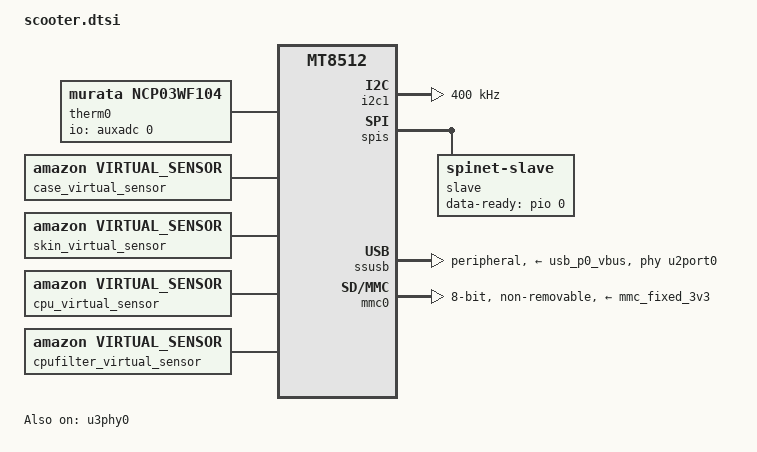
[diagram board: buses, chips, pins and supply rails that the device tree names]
/*
 * Copyright (c) 2019 MediaTek Inc.
 * Copyright (C) 2019 Amazon.com
 *
 * SPDX-License-Identifier: (GPL-2.0 OR MIT)
 */

#include "mt8512-amzn.dtsi"

&adsp {
	status = "disabled";
};

&adsp_pcm {
	status = "disabled";
};

&i2c0 {
	status = "disabled";
};

&i2c1 {
	status = "okay";
	clock-frequency = <400000>;
};

&i2c2 {
	status = "disabled";
};

&gpio_privacy {
	status = "disabled";
};

&spis {
	pinctrl-names = "default";
	pinctrl-0 = <&spis_pins>;
	slave-ready-gpio = <&pio 4 GPIO_ACTIVE_HIGH>;
	status = "okay";
	task-rt;

	slave: slave {
		compatible = "spinet-slave";
		data-ready-gpio = <&pio 0 GPIO_ACTIVE_HIGH>;
	};
};

&pio {
	pinctrl-names = "default";

	mmc0_pins_default: mmc0default {
		pins_clk {
			pinmux = <MT8512_PIN_82_MSDC0_CLK__FUNC_MSDC0_CLK>;
			bias-pull-down;
		};

		pins_cmd_dat {
			pinmux = <MT8512_PIN_86_MSDC0_DAT0__FUNC_MSDC0_DAT0>,
				 <MT8512_PIN_85_MSDC0_DAT1__FUNC_MSDC0_DAT1>,
				 <MT8512_PIN_84_MSDC0_DAT2__FUNC_MSDC0_DAT2>,
				 <MT8512_PIN_83_MSDC0_DAT3__FUNC_MSDC0_DAT3>,
				 <MT8512_PIN_79_MSDC0_DAT4__FUNC_MSDC0_DAT4>,
				 <MT8512_PIN_78_MSDC0_DAT5__FUNC_MSDC0_DAT5>,
				 <MT8512_PIN_77_MSDC0_DAT6__FUNC_MSDC0_DAT6>,
				 <MT8512_PIN_76_MSDC0_DAT7__FUNC_MSDC0_DAT7>,
				 <MT8512_PIN_81_MSDC0_CMD__FUNC_MSDC0_CMD>;
			input-enable;
			bias-pull-up;
		};

		pins_rst {
			pinmux = <MT8512_PIN_80_MSDC0_RSTB__FUNC_MSDC0_RSTB>;
			bias-pull-up;
		};
	};

	mmc0_pins_uhs: mmc0 {
		pins_clk {
			pinmux = <MT8512_PIN_82_MSDC0_CLK__FUNC_MSDC0_CLK>;
			drive-strength = <MTK_DRIVE_6mA>;
			bias-pull-down = <MTK_PUPD_SET_R1R0_01>;
		};

		pins_cmd_dat {
			pinmux = <MT8512_PIN_86_MSDC0_DAT0__FUNC_MSDC0_DAT0>,
				 <MT8512_PIN_85_MSDC0_DAT1__FUNC_MSDC0_DAT1>,
				 <MT8512_PIN_84_MSDC0_DAT2__FUNC_MSDC0_DAT2>,
				 <MT8512_PIN_83_MSDC0_DAT3__FUNC_MSDC0_DAT3>,
				 <MT8512_PIN_79_MSDC0_DAT4__FUNC_MSDC0_DAT4>,
				 <MT8512_PIN_78_MSDC0_DAT5__FUNC_MSDC0_DAT5>,
				 <MT8512_PIN_77_MSDC0_DAT6__FUNC_MSDC0_DAT6>,
				 <MT8512_PIN_76_MSDC0_DAT7__FUNC_MSDC0_DAT7>,
				 <MT8512_PIN_81_MSDC0_CMD__FUNC_MSDC0_CMD>;
			input-enable;
			drive-strength = <MTK_DRIVE_8mA>;
			bias-pull-up = <MTK_PUPD_SET_R1R0_01>;
		};

		pins_rst {
			pinmux = <MT8512_PIN_80_MSDC0_RSTB__FUNC_MSDC0_RSTB>;
			bias-pull-up;
		};
	};

	mmc0_pins_sleep: mmc0sleep {
		pins_clk {
			pinmux = <MT8512_PIN_82_MSDC0_CLK__FUNC_GPIO82>;
			bias-disable;
			input-disable;
		};

		pins_cmd_dat {
			pinmux = <MT8512_PIN_86_MSDC0_DAT0__FUNC_GPIO86>,
				 <MT8512_PIN_85_MSDC0_DAT1__FUNC_GPIO85>,
				 <MT8512_PIN_84_MSDC0_DAT2__FUNC_GPIO84>,
				 <MT8512_PIN_83_MSDC0_DAT3__FUNC_GPIO83>,
				 <MT8512_PIN_79_MSDC0_DAT4__FUNC_GPIO79>,
				 <MT8512_PIN_78_MSDC0_DAT5__FUNC_GPIO78>,
				 <MT8512_PIN_77_MSDC0_DAT6__FUNC_GPIO77>,
				 <MT8512_PIN_76_MSDC0_DAT7__FUNC_GPIO76>,
				 <MT8512_PIN_81_MSDC0_CMD__FUNC_GPIO81>;
			bias-disable;
			input-disable;
		};

		pins_rst {
			pinmux = <MT8512_PIN_80_MSDC0_RSTB__FUNC_GPIO80>;
			bias-disable;
			input-disable;
		};
	};

	mmc1_pins_default: mmc1default {
		pins_cmd_dat {
			pinmux = <MT8512_PIN_72_MSDC1_DAT0__FUNC_MSDC1_DAT0>,
			       <MT8512_PIN_73_MSDC1_DAT1__FUNC_MSDC1_DAT1>,
			       <MT8512_PIN_74_MSDC1_DAT2__FUNC_MSDC1_DAT2>,
			       <MT8512_PIN_75_MSDC1_DAT3__FUNC_MSDC1_DAT3>,
			       <MT8512_PIN_70_MSDC1_CMD__FUNC_MSDC1_CMD>;
			input-enable;
			drive-strength = <MTK_DRIVE_6mA>;
			bias-pull-up = <MTK_PUPD_SET_R1R0_01>;
		};

		pins_clk {
			pinmux = <MT8512_PIN_71_MSDC1_CLK__FUNC_MSDC1_CLK>;
			drive-strength = <MTK_DRIVE_6mA>;
			bias-pull-down = <MTK_PUPD_SET_R1R0_10>;
		};
	};

	mmc1_pins_uhs: mmc1@0 {
		pins_cmd_dat {
			pinmux = <MT8512_PIN_72_MSDC1_DAT0__FUNC_MSDC1_DAT0>,
			       <MT8512_PIN_73_MSDC1_DAT1__FUNC_MSDC1_DAT1>,
			       <MT8512_PIN_74_MSDC1_DAT2__FUNC_MSDC1_DAT2>,
			       <MT8512_PIN_75_MSDC1_DAT3__FUNC_MSDC1_DAT3>,
			       <MT8512_PIN_70_MSDC1_CMD__FUNC_MSDC1_CMD>;
			input-enable;
			drive-strength = <MTK_DRIVE_6mA>;
			bias-pull-up = <MTK_PUPD_SET_R1R0_01>;
		};

		pins_clk {
			pinmux = <MT8512_PIN_71_MSDC1_CLK__FUNC_MSDC1_CLK>;
			drive-strength = <MTK_DRIVE_6mA>;
			bias-pull-down = <MTK_PUPD_SET_R1R0_10>;
		};
	};

	mmc1_pins_dat1: mmc1_dat1 {
		pins_dat1 {
			pinmux = <MT8512_PIN_73_MSDC1_DAT1__FUNC_MSDC1_DAT1>;
			input-enable;
			drive-strength = <MTK_DRIVE_6mA>;
			bias-pull-up = <MTK_PUPD_SET_R1R0_10>;
		};
	};

	mmc1_dat1_eint: dat1_eint {
		pins_dat1_eint {
			pinmux = <MT8512_PIN_73_MSDC1_DAT1__FUNC_GPIO73>;
			input-enable;
			bias-pull-up = <MTK_PUPD_SET_R1R0_10>;
		};
	};

	uart1_pin: uart1default {
		pins_rx {
			pinmux = <MT8512_PIN_54_URXD1__FUNC_URXD1>;
			input-enable;
			bias-pull-up;
		};

		pins_tx {
			pinmux = <MT8512_PIN_55_UTXD1__FUNC_UTXD1>;
		};

		pins_rts {
			pinmux = <MT8512_PIN_56_URTS1__FUNC_DSP_URXD>;
			input-enable;
			bias-pull-up;
		};

		pins_cts {
			pinmux = <MT8512_PIN_57_UCTS1__FUNC_DSP_UTXD>;
		};
	};

	spis_pins: spis@0 {
		pins_spis {
		    pinmux = <MT8512_PIN_48_JTMS__FUNC_SPIS_CSB>,
		    	<MT8512_PIN_49_JTCK__FUNC_SPIS_CLK>,
		    	<MT8512_PIN_50_JTDI__FUNC_SPIS_SO>,
		    	<MT8512_PIN_51_JTDO__FUNC_SPIS_SI>;
		    drive-strength = <4>;
		    bias-disable;
		    input-enable;
		};
	};
};

&svs {
	vproc-supply = <&mt6395_vproc>;
};

&ssusb {
	vbus-supply = <&usb_p0_vbus>;
	extcon = <&extcon_usb>;
	dr_mode = "peripheral";
	pinctrl-names = "default", "id_float", "id_ground";
	pinctrl-0 = <&usb_id_pins_float>;
	pinctrl-1 = <&usb_id_pins_float>;
	pinctrl-2 = <&usb_id_pins_ground>;
	phys = <&u2port0 PHY_TYPE_USB2>;
	mediatek,force_vbus = "true";
	status="okay";
};

&u3phy0 {
	status = "okay";
};

&mmc0 {
	status = "okay";
	pinctrl-names = "default", "state_uhs", "sleep";
	pinctrl-0 = <&mmc0_pins_default>;
	pinctrl-1 = <&mmc0_pins_uhs>;
	pinctrl-2 = <&mmc0_pins_sleep>;
	bus-width = <8>;
	max-frequency = <200000000>;
	cap-mmc-highspeed;
	mmc-hs200-1_8v;
	cap-cqe;
	cap-cqe_dcmd;
	vmmc-supply = <&mmc_fixed_3v3>;
	vqmmc-supply = <&mmc_fixed_1v8_io>;
	assigned-clocks = <&topckgen CLK_TOP_MSDC50_0_SEL>;
	assigned-clock-parents = <&topckgen CLK_TOP_MSDCPLL_D2>;
	non-removable;
	no-sd;
	no-sdio;
};

&acenna_reserved {
	size = <0 0x08000000>;
};

/ {
	therm0: thermistor_0 {
		compatible = "murata,ncp03wf104";
		#thermal-sensor-cells = <0>;
		pullup-uv = <1800000>;
		pullup-ohm = <100000>;
		pulldown-ohm = <0>;
		io-channels = <&auxadc 0>;
	};

	case_virtual_sensor: case-virtual-sensor {
		compatible = "amazon,virtual_sensor";
		#thermal-sensor-cells = <0>;

		zone-list {
			zone-names = "therm0_s", "mtktscpu";
			therm0_s = <0 0 0 0 (-40000) 125000>;
			mtktscpu = <0 0 0 0 0 0>;
		};
	};

	skin_virtual_sensor: skin-virtual-sensor {
		compatible = "amazon,virtual_sensor";
		#thermal-sensor-cells = <0>;

		zone-list {
			zone-names = "therm0_s", "mtktscpu";
			therm0_s = <0 0 0 0 (-40000) 125000>;
			mtktscpu = <0 0 0 0 0 0>;
		};
	};

	cpu_virtual_sensor: cpu-virtual-sensor {
		compatible = "amazon,virtual_sensor";
		#thermal-sensor-cells = <0>;

		zone-list {
			zone-names = "therm0_s", "mtktscpu";
			therm0_s = <0 0 0 0 (-40000) 125000>;
			mtktscpu = <0 0 1000 1000 0 0>;
		};
	};

	cpufilter_virtual_sensor: cpufilter-virtual-sensor {
		compatible = "amazon,virtual_sensor";
		#thermal-sensor-cells = <0>;
		moving-average-prop = <1000 5 100 0>;

		zone-list {
			zone-names = "therm0_s", "mtktscpu";
			therm0_s = <0 0 0 0 (-40000) 125000>;
			mtktscpu = <0 0 1000 1000 0 0>;
		};
	};

};

#include "mopac_thermal_zones.dtsi"
#include "mt6395.dtsi"
